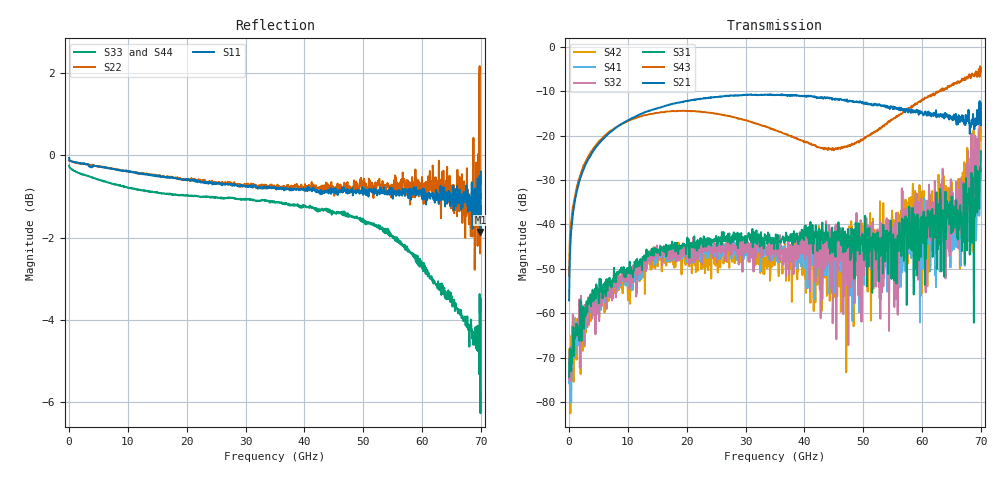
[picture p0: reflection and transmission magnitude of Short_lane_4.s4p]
! 4/13/2026 10:34:48 AM
! C:\ANRITSUVNA\DATA\SARA\2026-04-13 T5 MZDRV\DEEMB STRUCTURES\SHORT_3.S4P
! CHANNEL.1
! TR.MEASUREMENT
! CORRECTED.DATA
! RF.CORRECTION: FULL.FOUR.PORT.CAL.PORT.1.2.3.4
! AVERAGING.OFF
! IF.BANDWIDTH: 1KHZ
! SWEEPTYPE:  FREQ.SWEEP(Linear)
! Reference Plane Port Info
! PORT:  PORT1  PORT2  PORT3  PORT4
! DISTANCE:  0  m  0  m  0  m  0  m
! TIME:  0  s  0  s  0  s  0  s
! PHASE.OFFSET:  0 °  0 °  0 °  0 °
! LOSS:  0  dB  0  dB  0  dB  0  dB
! REF.LOSS:  0  dB  0  dB  0  dB  0  dB
! REF.FREQ:  0  Hz  0  Hz  0  Hz  0  Hz
! Power Info
! POWER:  -20  dBm  -20  dBm  -20  dBm  -20  dBm
! EFF.POWER:  -20  dBm  -20  dBm  -20  dBm  -20  dBm
! SOURCE.ATTEN:  0  dB  0  dB  0  dB  0  dB
! TEST.ATTEN:  0  dB  0  dB  0  dB  0  dB
# HZ S DB R 50.0
! FREQ.HZ  S11DB  S11A  S12DB  S12A  S13DB  S13A  S14DB  S14A
!  S21DB  S21A  S22DB  S22A  S23DB  S23A  S24DB  S24A
!  S31DB  S31A  S32DB  S32A  S33DB  S33A  S34DB  S34A
!  S41DB  S41A  S42DB  S42A  S43DB  S43A  S44DB  S44A
!; PortSelection: Port_1234
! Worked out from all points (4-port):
!   1001 points, 10 MHz to 70 GHz, reference 50 ohm
!   strongest paths, dB at 10 MHz, 17.51 GHz, 35.01 GHz, 52.5 GHz, 70 GHz:
!     S21: -57.1, -12.9, -10.9, -13.0, -17.6
!     S43: -51.6, -14.4, -18.7, -18.6, -4.6
!     S31: -74.3, -43.9, -43.9, -44.2, -23.5
!     S32: -73.0, -45.1, -44.2, -43.6, -17.1
!     S41: -75.8, -45.4, -44.6, -43.9, -28.4
!     S42: -68.2, -46.8, -46.4, -48.7, -21.0
!   lowest |S11| = -1.9 dB at 69.93 GHz (marker M1), VSWR 9.39, Z = 22.1 + j86.5 ohm
!   |S11| at or under -10 dB: nowhere
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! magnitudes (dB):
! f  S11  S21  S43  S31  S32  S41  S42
! 10 MHz  -0.1  -57.1  -51.6  -74.3  -73.0  -75.8  -68.2
! 2.95 GHz  -0.2  -26.1  -25.5  -57.4  -60.2  -63.3  -62.0
! 13.17 GHz  -0.5  -14.6  -15.3  -45.6  -48.1  -50.1  -47.2
! 55.51 GHz  -0.9  -13.9  -15.9  -44.9  -43.1  -43.8  -56.5
! 66.5 GHz  -1.0  -15.9  -7.8  -35.6  -29.6  -47.9  -32.1
! 69.93 GHz  -1.9  -12.5  -5.8  -28.1  -13.0  -30.1  -14.8
! 70 GHz  -0.4  -17.6  -4.6  -23.5  -17.1  -28.4  -21.0
